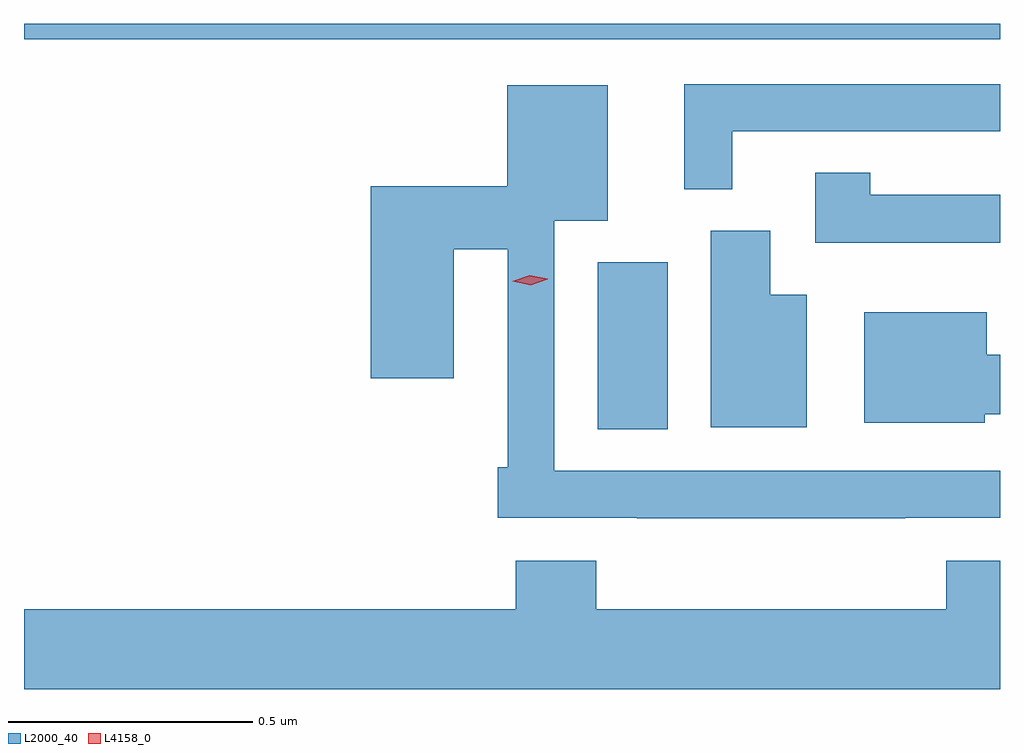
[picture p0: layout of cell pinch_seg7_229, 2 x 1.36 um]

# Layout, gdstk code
import gdstk
lib = gdstk.Library(unit=1e-6, precision=1e-09)
def R(c, l, rs):  # rectangles x0, y0, x1, y1
    for r in rs: c.add(gdstk.rectangle(r[:2], r[2:], *l))
def P(c, l, *ps):  # polygons
    for p in ps: c.add(gdstk.Polygon(p, *l))
L2000_40 = (2000, 40)
L4158_0 = (4158, 0)

pinch_seg7_229 = lib.new_cell('pinch_seg7_229')
R(pinch_seg7_229, L2000_40, [(682.169,1081.069,682.312,1081.411), (680.993,1081.868,682.993,1081.9)])
P(pinch_seg7_229, L2000_40, [(682.444,1081.68),(682.993,1081.68),(682.993,1081.776),(682.346,1081.776),(682.346,1081.561),(682.444,1081.561)],
  [(682.799,1080.888),(682.993,1080.888),(682.993,1080.984),(682.08,1080.984),(682.08,1081.496),(682.189,1081.496),(682.189,1081.774),(681.983,1081.774),(681.983,1081.567),(681.704,1081.567),(681.704,1081.173),(681.874,1081.173),(681.874,1081.438),(681.984,1081.438),(681.984,1080.991),(681.964,1080.991),(681.964,1080.888),(682.249,1080.888),(682.249,1080.887),(682.799,1080.887)],
  [(682.993,1081.549),(682.727,1081.549),(682.727,1081.595),(682.614,1081.595),(682.614,1081.451),(682.993,1081.451)],
  [(682.597,1081.345),(682.522,1081.345),(682.522,1081.476),(682.4,1081.476),(682.4,1081.073),(682.597,1081.073)],
  [(682.962,1081.1),(682.993,1081.1),(682.993,1081.222),(682.966,1081.222),(682.966,1081.309),(682.715,1081.309),(682.715,1081.082),(682.962,1081.082)],
  [(682.993,1080.799),(682.883,1080.799),(682.883,1080.7),(682.166,1080.7),(682.166,1080.799),(682.001,1080.799),(682.001,1080.7),(680.993,1080.7),(680.993,1080.536),(682.993,1080.536)])
P(pinch_seg7_229, L4158_0, [(682.031,1081.364),(681.994,1081.372),(681.994,1081.372),(681.994,1081.372),(682.029,1081.384),(682.066,1081.377),(682.066,1081.376),(682.066,1081.376)])

lib.write_gds('pinch_seg7_229.gds')
